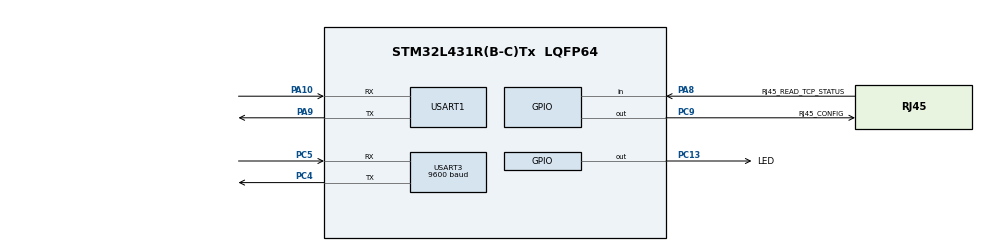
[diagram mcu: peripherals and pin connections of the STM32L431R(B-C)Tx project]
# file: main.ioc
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Dma.Request0=USART3_RX
Dma.USART3_RX.0.Direction=DMA_PERIPH_TO_MEMORY
Dma.USART3_RX.0.Instance=DMA1_Channel3
Dma.USART3_RX.0.MemDataAlignment=DMA_MDATAALIGN_BYTE
Dma.USART3_RX.0.MemInc=DMA_MINC_ENABLE
Dma.USART3_RX.0.Mode=DMA_NORMAL
Dma.USART3_RX.0.PeriphDataAlignment=DMA_PDATAALIGN_BYTE
Dma.USART3_RX.0.PeriphInc=DMA_PINC_DISABLE
Dma.USART3_RX.0.Priority=DMA_PRIORITY_LOW
Mcu.Family=STM32L4
Mcu.Name=STM32L431R(B-C)Tx
Mcu.Package=LQFP64
NVIC.DMA1_Channel3_IRQn=true\:0\:0\:false\:false\:true\:false\:true
NVIC.PriorityGroup=NVIC_PRIORITYGROUP_4
NVIC.USART3_IRQn=true\:0\:0\:false\:false\:true\:true\:true
PA10.Mode=Asynchronous
PA10.Signal=USART1_RX
PA13\ (JTMS-SWDIO).Mode=Serial_Wire
PA13\ (JTMS-SWDIO).Signal=SYS_JTMS-SWDIO
PA14\ (JTCK-SWCLK).Mode=Serial_Wire
PA14\ (JTCK-SWCLK).Signal=SYS_JTCK-SWCLK
PA8.GPIO_Label=RJ45_READ_TCP_STATUS
PA8.GPIO_PuPd=GPIO_PULLUP
PA8.Signal=GPIO_Input
PA9.Mode=Asynchronous
PA9.Signal=USART1_TX
PC13.GPIO_Label=LED
PC13.Signal=GPIO_Output
PC4.Mode=Asynchronous
PC4.Signal=USART3_TX
PC5.Mode=Asynchronous
PC5.Signal=USART3_RX
PC9.GPIO_Label=RJ45_CONFIG
PC9.GPIO_Speed=GPIO_SPEED_FREQ_VERY_HIGH
PC9.PinState=GPIO_PIN_SET
PC9.Signal=GPIO_Output
PH0-OSC_IN\ (PH0).Mode=HSE-External-Oscillator
PH0-OSC_IN\ (PH0).Signal=RCC_OSC_IN
PH1-OSC_OUT\ (PH1).Mode=HSE-External-Oscillator
PH1-OSC_OUT\ (PH1).Signal=RCC_OSC_OUT
ProjectManager.HeapSize=0x200
ProjectManager.StackSize=0x400
ProjectManager.TargetToolchain=MDK-ARM V5
RCC.HSE_VALUE=8000000
RCC.HSI48_VALUE=48000000
RCC.HSI_VALUE=16000000
RCC.LSE_VALUE=32768
RCC.MSI_VALUE=4000000
RCC.VCOOutputFreq_Value=32000000
USART1.VirtualMode-Asynchronous=VM_ASYNC
USART3.BaudRate=9600
USART3.VirtualMode-Asynchronous=VM_ASYNC
board=custom

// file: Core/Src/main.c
/* USER CODE BEGIN Header */
/**
  ******************************************************************************
  * @file           : main.c
  * @brief          : Main program body
  ******************************************************************************
  * @attention
  *
  * <h2><center>&copy; Copyright (c) 2021 STMicroelectronics.
  * All rights reserved.</center></h2>
  *
  * This software component is licensed by ST under BSD 3-Clause license,
  * the "License"; You may not use this file except in compliance with the
  * License. You may obtain a copy of the License at:
  *                        opensource.org/licenses/BSD-3-Clause
  *
  ******************************************************************************
  */
/* USER CODE END Header */
#include "main.h"
#include "dma.h"
#include "usart.h"
#include "gpio.h"

/* USER CODE BEGIN Includes */
#include "rj45_eth.h"
/* USER CODE END Includes */

void SystemClock_Config(void);

/* USER CODE BEGIN 0 */
__IO uint16_t Count_Timer = 0;
__IO uint16_t Count_LED_Timer = 0;

#define DEVICE_ID ""
#define API_KEY   ""

char *post_http_data = \
    "POST /devices/"DEVICE_ID"/datapoints?type=3 HTTP/1.1\r\n"	\
    "api-key:"API_KEY"\r\n"					\
    "Host:api.heclouds.com\r\n"									\
    "Content-Length:11\r\n\r\n"
		"{\"ppm\":100}";
/* USER CODE END 0 */

int main(void)
{

    /* MCU Configuration--------------------------------------------------------*/

    /* Reset of all peripherals, Initializes the Flash interface and the Systick. */
    HAL_Init();

    /* Configure the system clock */
    SystemClock_Config();

    /* Initialize all configured peripherals */
    MX_GPIO_Init();
    MX_DMA_Init();
    MX_USART1_UART_Init();
    MX_USART3_UART_Init();
    /* USER CODE BEGIN 2 */
    printf("RJ45 dEMO\n");
    /*配置模块参数*/
    Config_RJ45_Module_Para();
    printf("\r\n");
Read_Config_Para:
    /*获取RJ45模块参数*/
    Get_RJ45_Module_Config_Para();
    /*进入数据透传模式*/
    Enter_Data_Penetrate_Mode();
    /* USER CODE END 2 */

    /* Infinite loop */
    while (1)
    {

        /* USER CODE BEGIN 3 */
        /*1.检查与远端服务器的连接状况,返回1表示已连接服务器*/
        Deice_Para_Handledef.tcp_status = Check_TCP_Status();

        if(1 == Deice_Para_Handledef.tcp_status)
        {
            if(Count_LED_Timer > 500)
            {
                Count_LED_Timer = 0 ;
                HAL_GPIO_TogglePin(LED_GPIO_Port, LED_Pin);
            }
        }
        else
        {
            if(Count_LED_Timer > 500)
            {
                Count_LED_Timer = 0 ;
                HAL_GPIO_WritePin(LED_GPIO_Port, LED_Pin, GPIO_PIN_RESET);
            }
        }

        /*2.每1s透传一次数据给服务器*/
        if(Count_Timer >= 10000)
        {
            Count_Timer = 0 ;
            printf("透传数据:\n%s\n", post_http_data);

            if(1 == Deice_Para_Handledef.tcp_status)
            {
                RJ45_Send_NetWork_Penetrate_Data(post_http_data);
                printf("服务器已连接,发送成功!\n");
            }
            else
            {
                printf("服务器未连接,发送失败!\n");
            }
        }

        /*3.接收服务器下发的数据*/
        if(RJ45r_Handler.BufferReady)
        {
            RJ45r_Handler.BufferReady = 0 ;
            printf("接收网络数据:\n%s\n", RJ45r_Handler.RJ45RxBuffer);
            /*退出透传模式*/
            //Quit_Data_Penetrate_Mode();
            //goto Read_Config_Para ;
            memset(RJ45r_Handler.RJ45RxBuffer, 0, RJ45_RXBUFFER_SIZE);
            HAL_UART_Receive_DMA(UART_PORT, RJ45r_Handler.RJ45RxBuffer, RJ45_RXBUFFER_SIZE);
        }
    }

    /* USER CODE END 3 */
}

void SystemClock_Config(void)
{
    RCC_OscInitTypeDef RCC_OscInitStruct = {0};
    RCC_ClkInitTypeDef RCC_ClkInitStruct = {0};
    RCC_PeriphCLKInitTypeDef PeriphClkInit = {0};

    /** Initializes the RCC Oscillators according to the specified parameters
    * in the RCC_OscInitTypeDef structure.
    */
    RCC_OscInitStruct.OscillatorType = RCC_OSCILLATORTYPE_MSI;
    RCC_OscInitStruct.MSIState = RCC_MSI_ON;
    RCC_OscInitStruct.MSICalibrationValue = 0;
    RCC_OscInitStruct.MSIClockRange = RCC_MSIRANGE_6;
    RCC_OscInitStruct.PLL.PLLState = RCC_PLL_NONE;

    if (HAL_RCC_OscConfig(&RCC_OscInitStruct) != HAL_OK)
    {
        Error_Handler();
    }

    /** Initializes the CPU, AHB and APB buses clocks
    */
    RCC_ClkInitStruct.ClockType = RCC_CLOCKTYPE_HCLK | RCC_CLOCKTYPE_SYSCLK
                                  | RCC_CLOCKTYPE_PCLK1 | RCC_CLOCKTYPE_PCLK2;
    RCC_ClkInitStruct.SYSCLKSource = RCC_SYSCLKSOURCE_MSI;
    RCC_ClkInitStruct.AHBCLKDivider = RCC_SYSCLK_DIV1;
    RCC_ClkInitStruct.APB1CLKDivider = RCC_HCLK_DIV1;
    RCC_ClkInitStruct.APB2CLKDivider = RCC_HCLK_DIV1;

    if (HAL_RCC_ClockConfig(&RCC_ClkInitStruct, FLASH_LATENCY_0) != HAL_OK)
    {
        Error_Handler();
    }

    PeriphClkInit.PeriphClockSelection = RCC_PERIPHCLK_USART1 | RCC_PERIPHCLK_USART3;
    PeriphClkInit.Usart1ClockSelection = RCC_USART1CLKSOURCE_PCLK2;
    PeriphClkInit.Usart3ClockSelection = RCC_USART3CLKSOURCE_PCLK1;

    if (HAL_RCCEx_PeriphCLKConfig(&PeriphClkInit) != HAL_OK)
    {
        Error_Handler();
    }

    /** Configure the main internal regulator output voltage
    */
    if (HAL_PWREx_ControlVoltageScaling(PWR_REGULATOR_VOLTAGE_SCALE1) != HAL_OK)
    {
        Error_Handler();
    }
}

void Error_Handler(void)
{
    __disable_irq();
    while (1)
    {
    }
}

/************************ (C) COPYRIGHT STMicroelectronics *****END OF FILE****/
